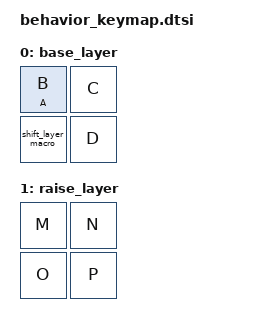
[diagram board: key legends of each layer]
/*
 * Copyright (c) 2022 The ZMK Contributors
 *
 * SPDX-License-Identifier: MIT
 */

#include <dt-bindings/zmk/keys.h>
#include <behaviors.dtsi>
#include <dt-bindings/zmk/kscan_mock.h>

#define BASE 0
#define RAISE 1

/ {
	macros {
        shift_layer_macro: shift_layer_macro {
			label = "SHIFT_LAYER_MACRO";
			compatible = "zmk,behavior-macro";
			#binding-cells = <0>;
			wait-ms = <1>;
			bindings
				//= <&macro_press &mo RAISE &kp LSHFT>
				= <&macro_press &mo RAISE>
				, <&macro_press &kp LSHFT>
				, <&macro_pause_for_release>
				//, <&macro_release &mo RAISE &kp LSHFT>
				, <&macro_release &mo RAISE>
				, <&macro_release &kp LSHFT>
				;
        };
	};


	behaviors {
        mth: macro_tap_hold {
            compatible = "zmk,behavior-hold-tap";
            label = "MACRO_TAP_HOLD";
            #binding-cells = <2>;
            flavor = "tap-unless-interrupted";
            tapping-term-ms = <200>;
            bindings = <&shift_layer_macro>, <&kp>;
        };
	};

	keymap {
		compatible = "zmk,keymap";
		label ="Default keymap";

		base_layer {
			bindings = <
				&mth A B 			&kp C
				&shift_layer_macro  &kp D>;
		};

		raise_layer {
			bindings = <
				&kp M 				&kp N
				&kp O				&kp P>;
		};
	};
};
